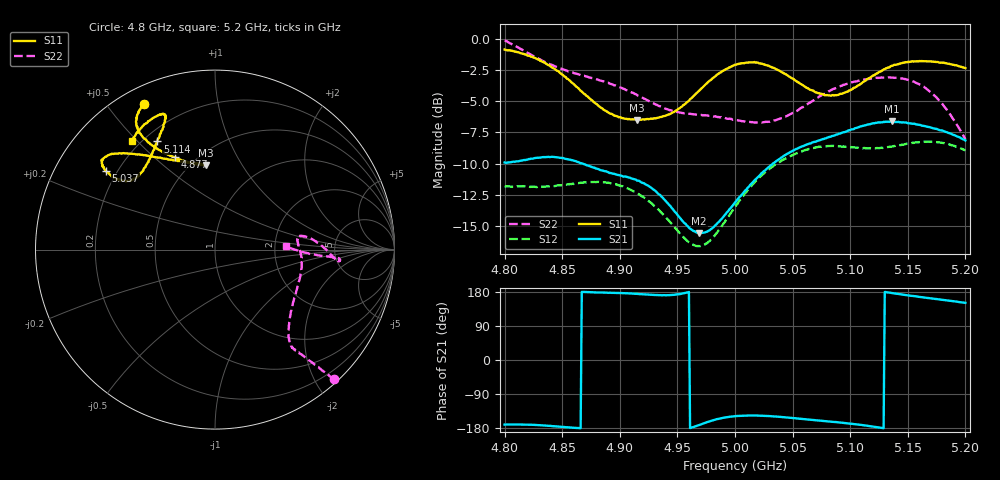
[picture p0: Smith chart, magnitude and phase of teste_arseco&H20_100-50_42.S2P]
! Network Analyzer HP8722D
! Hewlett-Packard
! Data name: Linha & Wilkinson
! Saver's name: Rodrigo Anjos
! Comments: Teste da utilização de aquisição
! continua pelo VNA HP8722D
! Time and date: 6/5/2025 12:55
!  Frequency  S11  S21  S12  S22
# HZ  S  MA R 50
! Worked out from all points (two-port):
!   401 points, 4.8 GHz to 5.2 GHz, reference 50 ohm
!   highest |S21| = -6.62 dB at 5.136 GHz (marker M1); lowest = -15.6 dB at 4.969 GHz (marker M2)
!   |S21| within 3 dB of the highest: 4.822 GHz to 4.853 GHz (30.69 MHz wide, 0.634 % of centre); 5.039 GHz to end of sweep
!   lowest |S11| = -6.5 dB at 4.915 GHz (marker M3), VSWR 2.79, Z = 29.2 + j35.3 ohm
!   |S11| at or under -10 dB: nowhere
!   |S22| runs from -8.0 to -0.2 dB; largest |S21 - S12| = 0.83
!   S11 on the Smith chart (normalised r, x): 4.8 GHz: 0.07, +0.63; 4.877 GHz: 0.39, +0.58; 5.037 GHz: 0.16, +0.32; 5.114 GHz: 0.25, +0.57; 5.2 GHz: 0.17, +0.48
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4.8e9  0.904 115.8  0.3197 -170.5  0.2569 -85.8  0.9827 -47.4
4.834e9  0.8037 122.6  0.3358 -172.7  0.256 -76.7  0.8103 -49.6
4.848e9  0.7292 122.4  0.3335 -176.0  0.259 -72.1  0.7604 -50.4
4.867e9  0.6134 118.1  0.3173 179.7  0.2651 -67.1  0.7144 -51.5
4.877e9  0.5597 113.4  0.3051 178.6  0.267 -66.0  0.6938 -51.7
4.901e9  0.4832 100.7  0.2834 176.7  0.2574 -66.6  0.6366 -49.9
4.915e9  0.4725 96.4  0.2705 174.6  0.2409 -68.1  0.5944 -46.2
4.934e9  0.4833 99.2  0.2383 171.0  0.2064 -69.2  0.5372 -37.3
4.95e9  0.5191 109.5  0.1975 173.1  0.1709 -65.3  0.5079 -26.9
4.969e9  0.6194 123.4  0.1667 -171.3  0.1479 -47.5  0.4962 -15.0
4.98e9  0.6899 129.7  0.1741 -159.9  0.1588 -34.8  0.4893 -9.1
5e9  0.7859 137.2  0.2208 -148.3  0.2128 -21.2  0.4729 -0.2
5.018e9  0.8006 141.7  0.274 -146.5  0.2695 -18.1  0.4622 5.9
5.037e9  0.7492 144.2  0.3265 -149.5  0.3174 -18.1  0.4753 9.1
5.067e9  0.6206 141.9  0.3843 -158.2  0.3648 -20.4  0.5617 4.7
5.088e9  0.5935 133.3  0.4132 -163.9  0.3711 -23.5  0.6353 -1.6
5.114e9  0.683 118.0  0.4516 -173.2  0.3644 -26.3  0.6877 -5.2
5.134e9  0.7669 111.2  0.4643 177.8  0.369 -28.5  0.6996 -4.7
5.136e9  0.7775 110.8  0.4666 176.8  0.3695 -28.8  0.6976 -4.5
5.164e9  0.8118 113.3  0.4474 165.0  0.387 -35.9  0.6412 -3.5
5.181e9  0.8019 119.5  0.4269 158.5  0.3822 -41.1  0.5395 -2.7
5.2e9  0.7619 127.5  0.3916 150.8  0.3575 -46.1  0.396 2.6
